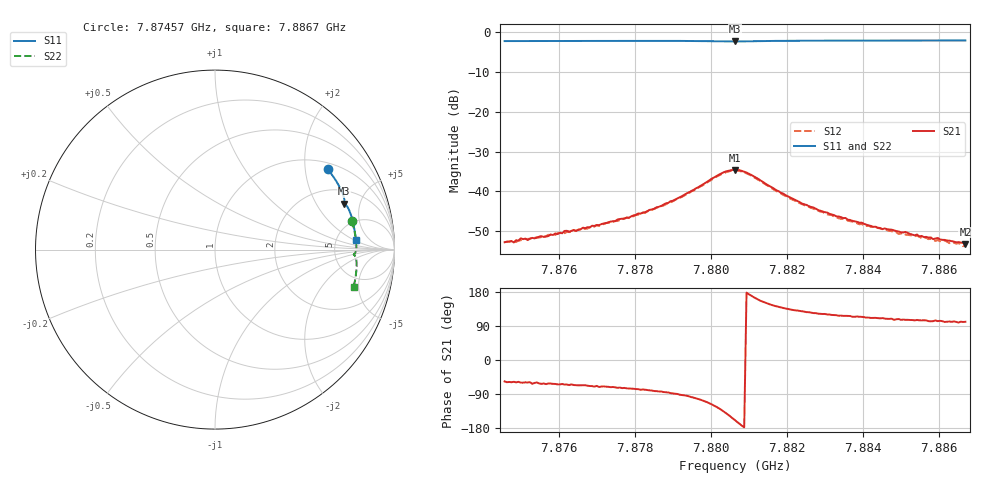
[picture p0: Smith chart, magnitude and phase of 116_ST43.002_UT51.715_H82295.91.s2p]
#  HZ  S  DB  R  50.00
! Rohde & Schwarz Vector Network Analyzer
! Rohde-Schwarz,ZNB20-2Port,1311601062101988,3.16
! Created: UTC 1/12/2023, 6:37:52 PM
! freq[Hz]  db:S11  ang:S11  db:S21  ang:S21  db:S12  ang:S12  db:S22  ang:S22
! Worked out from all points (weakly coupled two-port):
!   201 points, 7.87457 GHz to 7.8867 GHz, reference 50 ohm
!   highest |S21| = -34.57 dB at 7.88064 GHz (marker M1); lowest = -53.1 dB at 7.8867 GHz (marker M2)
!   lowest |S11| = -2.3 dB at 7.88064 GHz (marker M3), VSWR 7.46, Z = 144 + j177 ohm
!   |S11| at or under -10 dB: nowhere
!   |S22| runs from -2.2 to -1.9 dB; largest |S21 - S12| = 0.0012
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7.874573e9  -2.24 35.7  -52.75 -56.6  -52.71 -58.4  -2.17 11.6
7.874755e9  -2.24 35.2  -52.42 -58.6  -52.54 -62.0  -2.16 11.2
7.874816e9  -2.24 35.0  -52.80 -57.5  -52.56 -62.7  -2.16 11.0
7.874998e9  -2.24 34.5  -51.77 -59.7  -52.23 -63.6  -2.15 10.6
7.87518e9  -2.23 34.0  -52.21 -59.4  -51.91 -62.8  -2.15 10.1
7.87609e9  -2.22 31.5  -50.50 -63.2  -50.55 -68.6  -2.12 8.0
7.87615e9  -2.21 31.4  -49.91 -65.0  -50.45 -68.7  -2.11 7.9
7.876454e9  -2.21 30.5  -49.90 -66.5  -49.87 -68.3  -2.11 7.2
7.876635e9  -2.21 30.0  -49.09 -66.6  -49.22 -70.6  -2.11 6.7
7.877849e9  -2.19 26.7  -46.57 -75.2  -46.65 -78.2  -2.08 3.9
7.878637e9  -2.19 24.5  -43.84 -83.0  -43.91 -86.6  -2.07 2.0
7.879244e9  -2.20 22.8  -41.17 -92.4  -41.34 -96.1  -2.08 0.6
7.880275e9  -2.30 20.0  -35.49 -131.2  -35.67 -134.6  -2.18 -1.8
7.880639e9  -2.34 19.6  -34.57 -159.0  -34.73 -162.4  -2.23 -2.1
7.881063e9  -2.28 19.1  -35.83 170.1  -35.98 166.3  -2.17 -2.4
7.882034e9  -2.17 16.5  -41.24 134.8  -41.52 131.2  -2.05 -4.5
7.882701e9  -2.14 14.6  -44.01 123.9  -44.30 121.0  -2.01 -6.1
7.883611e9  -2.12 12.2  -47.09 116.2  -47.31 112.6  -1.98 -8.2
7.884702e9  -2.11 9.3  -49.55 108.6  -49.88 105.7  -1.97 -10.6
7.885855e9  -2.09 6.3  -51.97 102.5  -52.06 100.1  -1.95 -13.1
7.885976e9  -2.09 6.0  -51.68 102.5  -52.18 101.4  -1.95 -13.4
7.886704e9  -2.09 4.1  -53.15 100.9  -53.63 97.2  -1.94 -15.0
